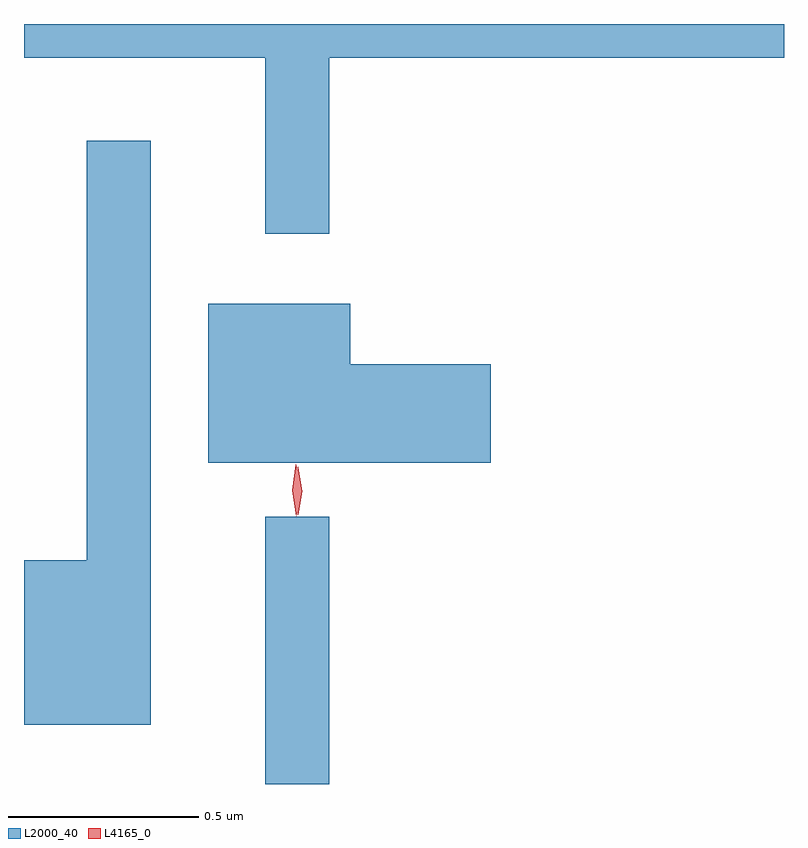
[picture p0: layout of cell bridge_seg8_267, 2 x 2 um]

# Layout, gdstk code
import gdstk
lib = gdstk.Library(unit=1e-6, precision=1e-09)
def R(c, l, rs):  # rectangles x0, y0, x1, y1
    for r in rs: c.add(gdstk.rectangle(r[:2], r[2:], *l))
def P(c, l, *ps):  # polygons
    for p in ps: c.add(gdstk.Polygon(p, *l))
L2000_40 = (2000, 40)
L4165_0 = (4165, 0)

bridge_seg8_267 = lib.new_cell('bridge_seg8_267')
R(bridge_seg8_267, L2000_40, [(1115.851,1843.385,1116.019,1844.088)])
P(bridge_seg8_267, L2000_40, [(1116.019,1845.296),(1117.216,1845.296),(1117.216,1845.385),(1115.216,1845.385),(1115.216,1845.296),(1115.851,1845.296),(1115.851,1844.833),(1116.019,1844.833)],
  [(1115.549,1845.078),(1115.381,1845.078),(1115.381,1843.974),(1115.216,1843.974),(1115.216,1843.541),(1115.549,1843.541)],
  [(1116.444,1844.489),(1116.074,1844.489),(1116.074,1844.649),(1115.701,1844.649),(1115.701,1844.231),(1116.444,1844.231)])
P(bridge_seg8_267, L4165_0, [(1115.932,1844.09),(1115.932,1844.09),(1115.922,1844.158),(1115.931,1844.225),(1115.931,1844.226),(1115.932,1844.225),(1115.942,1844.158),(1115.933,1844.09)],
  [(1115.937,1844.093),(1115.928,1844.156),(1115.937,1844.219),(1115.938,1844.22),(1115.938,1844.219),(1115.948,1844.156),(1115.938,1844.093),(1115.938,1844.093)])

lib.write_gds('bridge_seg8_267.gds')
